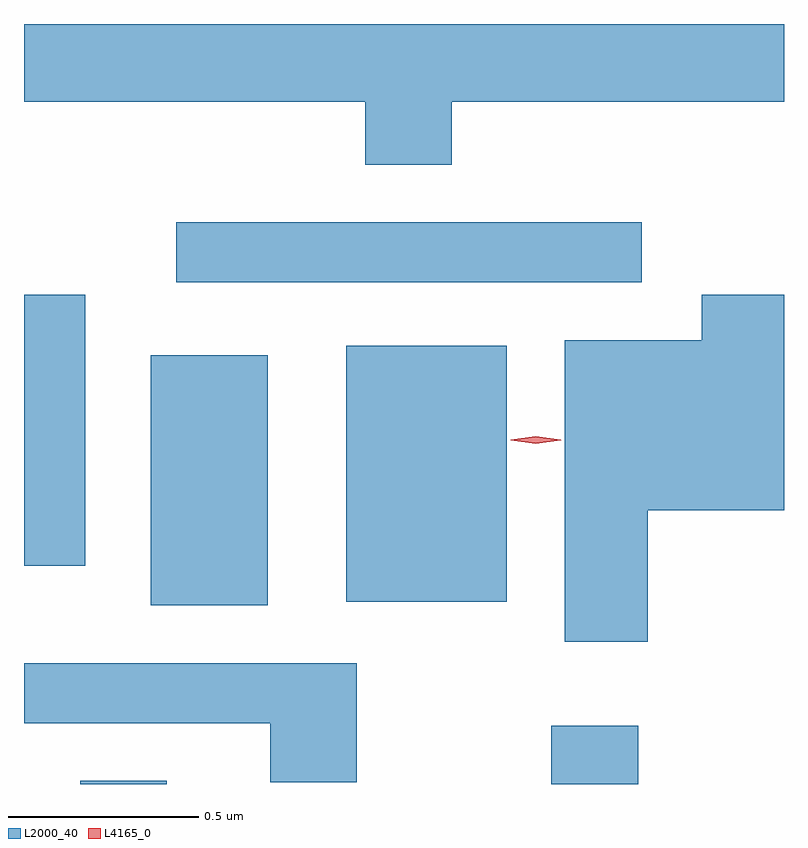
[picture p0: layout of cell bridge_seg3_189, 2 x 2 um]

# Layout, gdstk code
import gdstk
lib = gdstk.Library(unit=1e-6, precision=1e-09)
def R(c, l, rs):  # rectangles x0, y0, x1, y1
    for r in rs: c.add(gdstk.rectangle(r[:2], r[2:], *l))
def P(c, l, *ps):  # polygons
    for p in ps: c.add(gdstk.Polygon(p, *l))
L2000_40 = (2000, 40)
L4165_0 = (4165, 0)

bridge_seg3_189 = lib.new_cell('bridge_seg3_189')
R(bridge_seg3_189, L2000_40, [(762.341,1124.221,762.569,1124.229), (763.581,1124.221,763.809,1124.374), (762.526,1124.691,762.834,1125.349), (763.041,1124.701,763.464,1125.374), (762.193,1124.796,762.354,1125.509), (762.593,1125.541,763.818,1125.699)])
P(bridge_seg3_189, L2000_40, [(763.319,1126.016),(764.193,1126.016),(764.193,1126.221),(762.193,1126.221),(762.193,1126.016),(763.091,1126.016),(763.091,1125.851),(763.319,1125.851)],
  [(763.834,1124.941),(764.193,1124.941),(764.193,1125.509),(763.976,1125.509),(763.976,1125.389),(763.616,1125.389),(763.616,1124.596),(763.834,1124.596)],
  [(763.069,1124.539),(762.193,1124.539),(762.193,1124.381),(762.841,1124.381),(762.841,1124.226),(763.069,1124.226)])
P(bridge_seg3_189, L4165_0, [(763.54,1125.116),(763.474,1125.126),(763.474,1125.126),(763.474,1125.127),(763.54,1125.136),(763.606,1125.127),(763.607,1125.126),(763.606,1125.126)])

lib.write_gds('bridge_seg3_189.gds')
